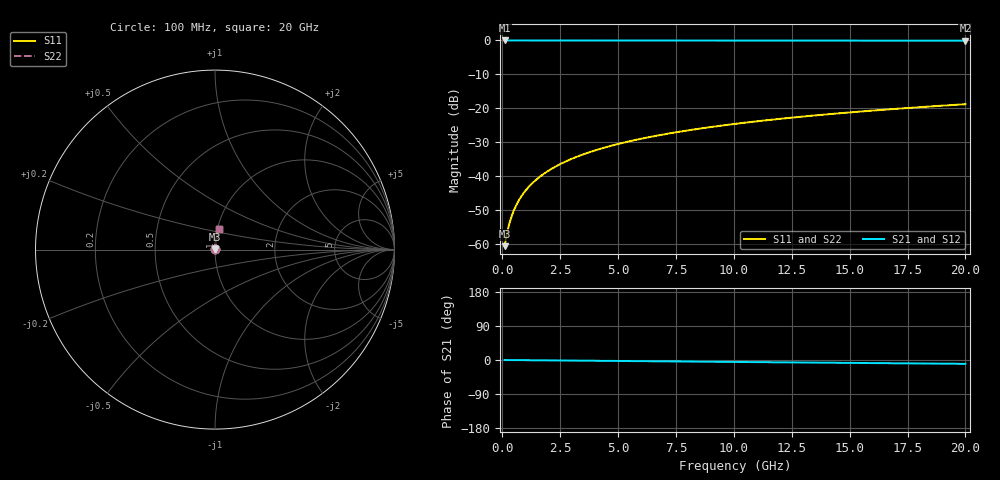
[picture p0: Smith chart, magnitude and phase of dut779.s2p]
! Touchstone file exported from HFSS 2026.1.0
!  File:  C:/ffzhzh/LocalFiles/Ansys_Project_Files/temp_train_TSV_779_1783183631_43440.aedt
!  Generated:  12:49:19 AM Jul  5, 2026
!  Design:  TSV
!  Project:  temp_train_TSV_779_1783183631_43440
! Variables:
!  h_bsmrdl = 2um
!  h_ox = 20um
!  h_rdl = 5um
!  h_sub = 71.24um
!  h_tmrdl = 5um
!  h_tsv = 71.24um
!  h_via = 3um
!  l_bsmrdl = 300um
!  l_sub = 407.06um
!  l_tmrdl = 200um
!  m_sub = 200um
!  pitch = 51.21um
!  r_tsv = 3.53um
!  s_tmrdl = 10um
!  w_bsmrdl = 18um
!  w_sub = 500um
!  w_tmrdl = 12um
!  x_tsv_center1 = 206um
!  x_tsv_center2 = 524um
!  x_tsv_center3 = 736um
!  x_tsv_center4 = 1054um
!  x_tsv_center5 = 1266um
!  x_tsv_center6 = 1584um
# GHz S MA R 50.000000
! Terminal data exported
! Port[1] = TSV1_1_T1
! Port[2] = TSV1_1_T2
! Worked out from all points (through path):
!   200 points, 100 MHz to 20 GHz, reference 50 ohm
!   highest |S21| = -0.01 dB at 100 MHz (marker M1); lowest = -0.1 dB at 20 GHz (marker M2)
!   group delay of S21, straight-line fit = 1.41 ps
!   lowest |S11| = -60.8 dB at 100 MHz (marker M3), VSWR 1.00, Z = 50.1 + j0.0609 ohm
!   |S11| at or under -10 dB: start of sweep to end of sweep
!   |S22| runs from -60.8 to -18.8 dB; largest |S21 - S12| = 1.4e-15
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0.1  0.0009143 41.7  0.9993 -0.1  0.9993 -0.1  0.0009143 41.7
! Gamma 0 0 0 0
! Port Impedance 50 0 50 0
0.2  0.001396 60.2  0.9993 -0.1  0.9993 -0.1  0.001396 60.2
0.3  0.001944 68.7  0.9993 -0.2  0.9993 -0.2  0.001944 68.7
0.4  0.002513 73.4  0.9993 -0.2  0.9993 -0.2  0.002513 73.4
0.5  0.00309 76.3  0.9993 -0.3  0.9993 -0.3  0.00309 76.3
0.6  0.003673 78.3  0.9993 -0.3  0.9993 -0.3  0.003673 78.3
0.8  0.004846 80.9  0.9992 -0.4  0.9992 -0.4  0.004846 80.9
1.1  0.006616 82.9  0.9992 -0.6  0.9992 -0.6  0.006616 82.9
1.5  0.008983 84.2  0.9992 -0.8  0.9992 -0.8  0.008983 84.2
1.8  0.01076 84.8  0.9991 -0.9  0.9991 -0.9  0.01076 84.8
2.1  0.01253 85.1  0.9991 -1.1  0.9991 -1.1  0.01253 85.1
2.7  0.01608 85.4  0.999 -1.4  0.999 -1.4  0.01608 85.4
3.5  0.02078 85.4  0.9988 -1.8  0.9988 -1.8  0.02078 85.4
4.2  0.02488 85.3  0.9986 -2.2  0.9986 -2.2  0.02488 85.3
5  0.02954 85.1  0.9984 -2.6  0.9984 -2.6  0.02954 85.1
5.9  0.03476 84.8  0.9981 -3.0  0.9981 -3.0  0.03476 84.8
6.8  0.03995 84.4  0.9978 -3.5  0.9978 -3.5  0.03995 84.4
8.3  0.04855 83.8  0.9972 -4.3  0.9972 -4.3  0.04855 83.8
10.1  0.05881 83.0  0.9964 -5.2  0.9964 -5.2  0.05881 83.0
13.4  0.07748 81.6  0.9949 -6.8  0.9949 -6.8  0.07748 81.6
16.7  0.09598 80.1  0.993 -8.5  0.993 -8.5  0.09598 80.1
20  0.1143 78.6  0.9909 -10.1  0.9909 -10.1  0.1143 78.6
